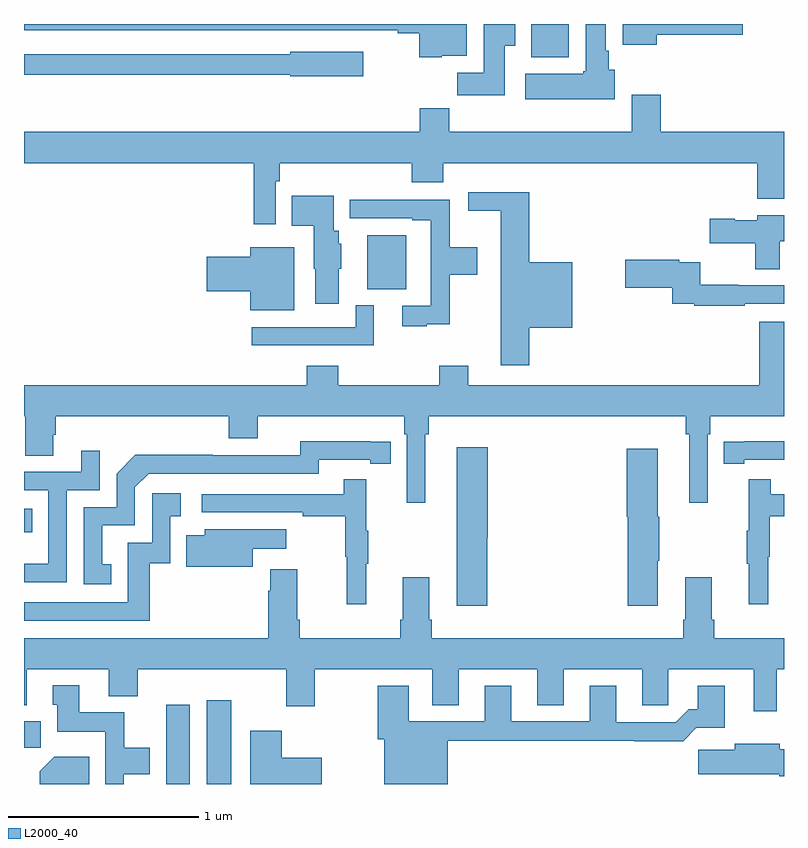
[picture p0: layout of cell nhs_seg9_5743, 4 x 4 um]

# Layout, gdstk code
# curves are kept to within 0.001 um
import gdstk
lib = gdstk.Library(unit=1e-6, precision=1e-09)
def R(c, l, rs):  # rectangles x0, y0, x1, y1
    for r in rs: c.add(gdstk.rectangle(r[:2], r[2:], *l))
def P(c, l, *ps):  # polygons
    for p in ps: c.add(gdstk.Polygon(p, *l))
L2000_40 = (2000, 40)

nhs_seg9_5743 = lib.new_cell('nhs_seg9_5743')
R(nhs_seg9_5743, L2000_40, [(445.748,1178.5,445.873,1178.917), (445.961,1178.5,446.092,1178.941), (445,1178.692,445.087,1178.83), (445,1179.825,445.043,1179.948), (446.807,1181.105,447.013,1181.389), (447.671,1182.326,447.868,1182.5)])
P(nhs_seg9_5743, L2000_40, [(448.33,1182.443),(448.783,1182.443),(448.783,1182.5),(448.151,1182.5),(448.151,1182.392),(448.33,1182.392)],
  [(447.198,1182.332),(447.331,1182.332),(447.331,1182.5),(445,1182.5),(445,1182.468),(446.966,1182.468),(446.966,1182.452),(447.08,1182.452),(447.08,1182.326),(447.198,1182.326)],
  [(447.529,1182.385),(447.586,1182.385),(447.586,1182.5),(447.419,1182.5),(447.419,1182.244),(447.28,1182.244),(447.28,1182.126),(447.529,1182.126)],
  [(448.108,1182.258),(448.078,1182.258),(448.078,1182.358),(448.063,1182.358),(448.063,1182.5),(447.956,1182.5),(447.956,1182.252),(447.943,1182.252),(447.943,1182.238),(447.639,1182.238),(447.639,1182.104),(448.108,1182.104)],
  [(446.785,1182.355),(446.4,1182.355),(446.4,1182.342),(445,1182.342),(445,1182.234),(446.4,1182.234),(446.4,1182.226),(446.785,1182.226)],
  [(446.325,1181.672),(446.345,1181.672),(446.345,1181.768),(447.041,1181.768),(447.041,1181.666),(447.206,1181.666),(447.206,1181.768),(448.859,1181.768),(448.859,1181.579),(449,1181.579),(449,1181.932),(448.352,1181.932),(448.352,1182.127),(448.199,1182.127),(448.199,1181.932),(447.239,1181.932),(447.239,1182.056),(447.083,1182.056),(447.083,1181.932),(445,1181.932),(445,1181.768),(446.209,1181.768),(446.209,1181.445),(446.325,1181.445)],
  [(447.659,1180.901),(447.886,1180.901),(447.886,1181.245),(447.659,1181.245),(447.659,1181.614),(447.339,1181.614),(447.339,1181.516),(447.509,1181.516),(447.509,1180.704),(447.659,1180.704)],
  [(446.656,1181.211),(446.671,1181.211),(446.671,1181.343),(446.656,1181.343),(446.656,1181.412),(446.629,1181.412),(446.629,1181.596),(446.41,1181.596),(446.41,1181.438),(446.525,1181.438),(446.525,1181.211),(446.534,1181.211),(446.534,1181.028),(446.656,1181.028)],
  [(447.119,1180.919),(447.242,1180.919),(447.242,1181.179),(447.385,1181.179),(447.385,1181.326),(447.242,1181.326),(447.242,1181.574),(446.957,1181.574),(446.957,1181.576),(446.715,1181.576),(446.715,1181.478),(447.044,1181.478),(447.044,1181.466),(447.141,1181.466),(447.141,1181.016),(446.991,1181.016),(446.991,1180.908),(447.119,1180.908)],
  [(448.978,1181.356),(449,1181.356),(449,1181.494),(448.86,1181.494),(448.86,1181.467),(448.74,1181.467),(448.74,1181.475),(448.608,1181.475),(448.608,1181.345),(448.849,1181.345),(448.849,1181.209),(448.978,1181.209)],
  [(446.422,1181.326),(446.192,1181.326),(446.192,1181.276),(445.962,1181.276),(445.962,1181.093),(446.192,1181.093),(446.192,1180.994),(446.422,1180.994)],
  [(448.793,1181.028),(449,1181.028),(449,1181.124),(448.76,1181.124),(448.76,1181.127),(448.56,1181.127),(448.56,1181.245),(448.448,1181.245),(448.448,1181.258),(448.164,1181.258),(448.164,1181.111),(448.412,1181.111),(448.412,1181.028),(448.528,1181.028),(448.528,1181.016),(448.793,1181.016)],
  [(446.842,1181.02),(446.745,1181.02),(446.745,1180.905),(446.199,1180.905),(446.199,1180.809),(446.842,1180.809)],
  [(447.112,1180.34),(447.131,1180.34),(447.131,1180.436),(448.483,1180.436),(448.483,1180.34),(448.502,1180.34),(448.502,1179.981),(448.599,1179.981),(448.599,1180.34),(448.613,1180.34),(448.613,1180.436),(449,1180.436),(449,1180.933),(448.87,1180.933),(448.87,1180.6),(447.337,1180.6),(447.337,1180.702),(447.185,1180.702),(447.185,1180.6),(446.654,1180.6),(446.654,1180.702),(446.489,1180.702),(446.489,1180.6),(445,1180.6),(445,1180.436),(445.006,1180.436),(445.006,1180.228),(445.153,1180.228),(445.153,1180.338),(445.166,1180.338),(445.166,1180.436),(446.078,1180.436),(446.078,1180.319),(446.23,1180.319),(446.23,1180.436),(447.002,1180.436),(447.002,1180.34),(447.015,1180.34),(447.015,1179.981),(447.112,1179.981)],
  [(448.792,1180.206),(449,1180.206),(449,1180.303),(448.792,1180.303),(448.792,1180.302),(448.684,1180.302),(448.684,1180.186),(448.792,1180.186)],
  [(445.46,1179.657),(445.411,1179.657),(445.411,1179.861),(445.584,1179.861),(445.584,1180.062),(445.656,1180.134),(446.55,1180.134),(446.55,1180.206),(446.822,1180.206),(446.822,1180.186),(446.93,1180.186),(446.93,1180.302),(446.454,1180.303),(446.454,1180.23),(445.994,1180.23),(445.994,1180.232),(445.586,1180.232),(445.488,1180.134),(445.488,1179.957),(445.314,1179.957),(445.314,1179.552),(445.46,1179.552)],
  [(447.437,1179.795),(447.442,1179.795),(447.442,1180.273),(447.278,1180.273),(447.278,1179.438),(447.437,1179.438)],
  [(448.336,1179.676),(448.344,1179.676),(448.344,1179.906),(448.336,1179.906),(448.336,1180.264),(448.172,1180.264),(448.172,1179.906),(448.178,1179.906),(448.178,1179.438),(448.336,1179.438)],
  [(445.224,1180.047),(445.398,1180.047),(445.398,1180.255),(445.301,1180.255),(445.301,1180.143),(445,1180.143),(445,1180.047),(445.128,1180.047),(445.128,1179.658),(445,1179.658),(445,1179.561),(445.224,1179.561)],
  [(446.801,1179.659),(446.812,1179.659),(446.812,1179.833),(446.801,1179.833),(446.801,1180.105),(446.683,1180.105),(446.683,1180.026),(445.935,1180.026),(445.935,1179.93),(446.467,1179.93),(446.467,1179.91),(446.691,1179.91),(446.691,1179.696),(446.698,1179.696),(446.698,1179.447),(446.801,1179.447)],
  [(448.916,1179.696),(448.924,1179.696),(448.924,1179.91),(449,1179.91),(449,1180.026),(448.931,1180.026),(448.931,1180.105),(448.814,1180.105),(448.814,1179.833),(448.803,1179.833),(448.803,1179.659),(448.814,1179.659),(448.814,1179.447),(448.916,1179.447)],
  [(445.661,1179.663),(445.77,1179.663),(445.77,1179.909),(445.825,1179.909),(445.825,1180.03),(445.674,1180.03),(445.674,1179.771),(445.545,1179.771),(445.545,1179.456),(445,1179.456),(445,1179.36),(445.661,1179.36)],
  [(446.203,1179.737),(446.38,1179.737),(446.38,1179.841),(445.952,1179.841),(445.952,1179.808),(445.855,1179.808),(445.855,1179.643),(446.203,1179.643)],
  [(446.437,1179.364),(446.437,1179.631),(446.297,1179.631),(446.297,1179.518),(446.285,1179.518),(446.285,1179.268),(445,1179.268),(445,1178.915),(445.015,1178.915),(445.015,1179.104),(445.445,1179.104),(445.445,1178.963),(445.598,1178.963),(445.598,1179.104),(446.381,1179.104),(446.381,1178.91),(446.529,1178.91),(446.529,1179.104),(447.149,1179.104),(447.149,1178.914),(447.289,1178.914),(447.289,1179.104),(447.701,1179.104),(447.701,1178.914),(447.841,1178.914),(447.841,1179.104),(448.253,1179.104),(448.253,1178.914),(448.392,1178.914),(448.392,1179.104),(448.841,1179.104),(448.841,1178.883),(448.963,1178.883),(448.963,1179.104),(449,1179.104),(449,1179.268),(448.634,1179.268),(448.634,1179.364),(448.621,1179.364),(448.621,1179.589),(448.481,1179.589),(448.481,1179.364),(448.469,1179.364),(448.469,1179.268),(447.146,1179.268),(447.146,1179.364),(447.133,1179.364),(447.133,1179.589),(446.993,1179.589),(446.993,1179.364),(446.981,1179.364),(446.981,1179.268),(446.45,1179.268),(446.45,1179.364)],
  [(445.524,1178.552),(445.663,1178.552),(445.663,1178.692),(445.527,1178.692),(445.527,1178.878),(445.291,1178.878),(445.291,1179.019),(445.151,1179.019),(445.151,1178.916),(445.175,1178.916),(445.175,1178.774),(445.428,1178.774),(445.428,1178.5),(445.524,1178.5)],
  [(447.229,1178.728),(448.213,1178.728),(448.213,1178.726),(448.469,1178.726),(448.538,1178.795),(448.687,1178.795),(448.687,1179.016),(448.547,1179.016),(448.547,1178.893),(448.498,1178.893),(448.431,1178.826),(448.117,1178.826),(448.117,1179.016),(447.977,1179.016),(447.977,1178.829),(447.565,1178.829),(447.565,1179.016),(447.425,1179.016),(447.425,1178.829),(447.025,1178.829),(447.025,1179.016),(446.861,1179.016),(446.861,1178.736),(446.897,1178.736),(446.897,1178.5),(447.229,1178.5)],
  [(446.566,1178.638),(446.356,1178.638),(446.356,1178.779),(446.192,1178.779),(446.192,1178.5),(446.566,1178.5)],
  [(449,1178.682),(448.978,1178.682),(448.978,1178.713),(448.742,1178.713),(448.742,1178.681),(448.548,1178.681),(448.548,1178.552),(448.974,1178.552),(448.974,1178.54),(449,1178.54)],
  [(445.343,1178.644),(445.16,1178.644),(445.082,1178.566),(445.082,1178.5),(445.343,1178.5)])

lib.write_gds('nhs_seg9_5743.gds')
